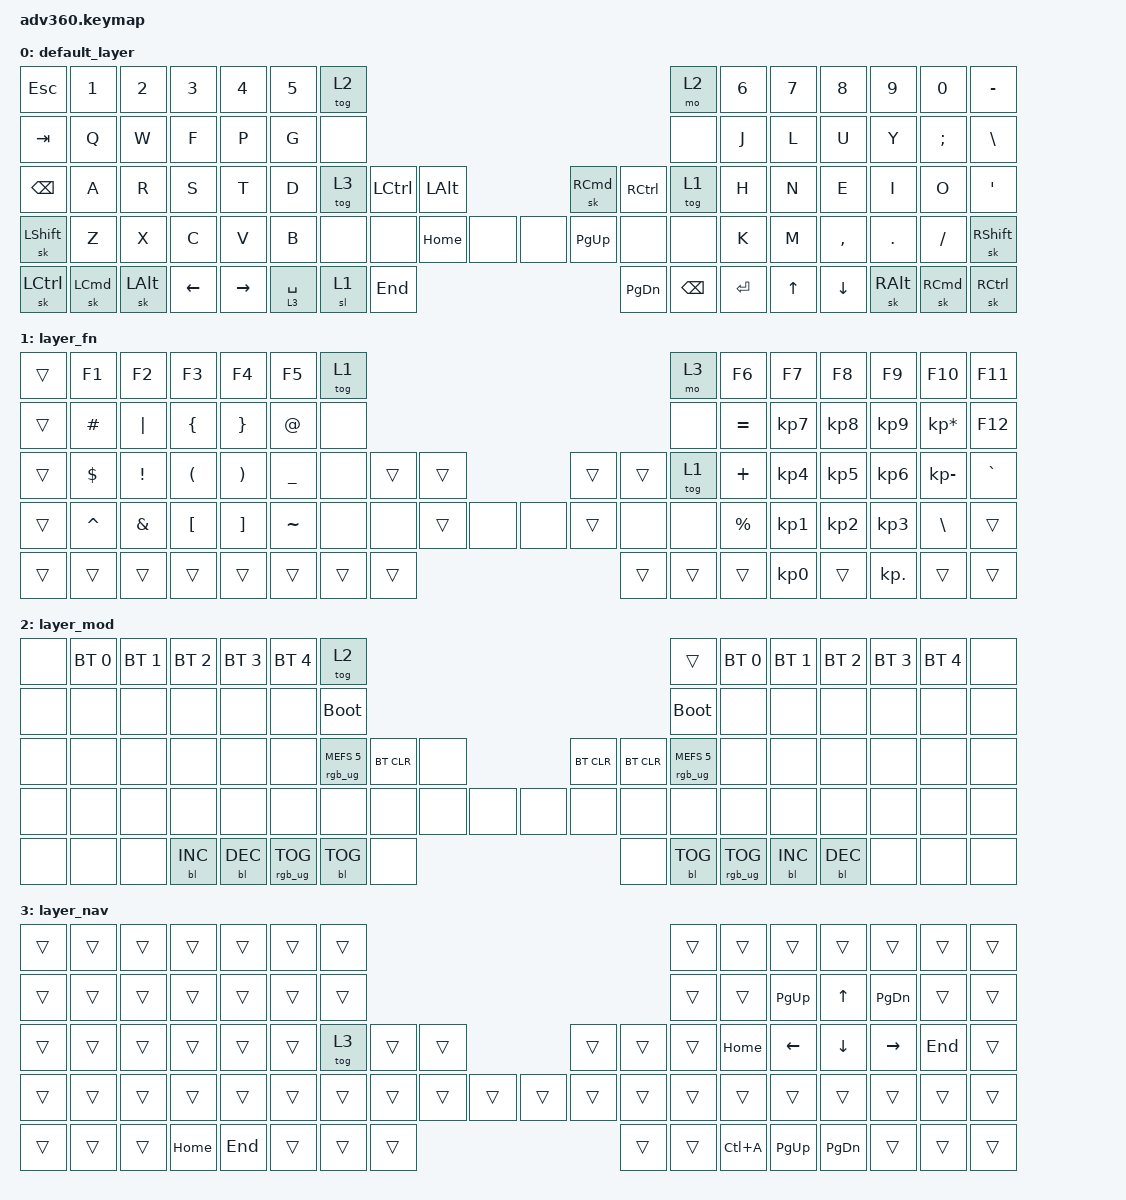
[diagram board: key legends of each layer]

/*
 * Copyright (c) 2020 The ZMK Contributors
 *
 * SPDX-License-Identifier: MIT
 */


/* THIS FILE WAS GENERATED!
 *
 * This file was generated automatically. You may or may not want to
 * edit it directly.
 */

#include <behaviors.dtsi>
#include <dt-bindings/zmk/keys.h>
#include <dt-bindings/zmk/bt.h>
#include <dt-bindings/zmk/rgb.h>
#include <dt-bindings/zmk/backlight.h>

/ {
  behaviors {
    #include "macros.dtsi"

    hm: homerow_mods {
        compatible = "zmk,behavior-hold-tap";
        label = "HOMEROW_MODS";
        #binding-cells = <2>;
        tapping-term-ms = <200>;
        quick_tap_ms = <175>;
        flavor = "tap-preferred";
        bindings = <&kp>, <&kp>;
    };
  };

    keymap {
        compatible = "zmk,keymap";


        default_layer {
            bindings = <
          &kp ESC    &kp N1    &kp N2    &kp N3     &kp N4  &kp N5                 &tog 2                                                                 &mo 2  &kp N6  &kp N7     &kp N8         &kp N9             &kp N0          &kp MINUS
          &kp TAB     &kp Q     &kp W     &kp F      &kp P   &kp G                  &none                                                                 &none   &kp J   &kp L      &kp U          &kp Y      &kp SEMICOLON           &kp BSLH
         &kp BSPC     &kp A     &kp R     &kp S      &kp T   &kp D                 &tog 3  &kp LCTRL  &kp LALT                   &sk RCMD  &kp RCTRL     &tog 1   &kp H   &kp N      &kp E          &kp I              &kp O            &kp SQT
   &sk LEFT_SHIFT     &kp Z     &kp X     &kp C      &kp V   &kp B                  &none      &none  &kp HOME   &none   &none  &kp PG_UP      &none      &none   &kp K   &kp M  &kp COMMA        &kp DOT           &kp FSLH    &sk RIGHT_SHIFT
 &sk LEFT_CONTROL  &sk LCMD  &sk LALT  &kp LEFT  &kp RIGHT                    &lt 3 SPACE      &sl 1   &kp END                  &kp PG_DN   &kp BSPC  &kp ENTER          &kp UP   &kp DOWN  &sk RIGHT_ALT  &sk RIGHT_COMMAND  &sk RIGHT_CONTROL
            >;
        };

        layer_fn {
            bindings = <
 &trans      &kp F1           &kp F2            &kp F3             &kp F4          &kp F5            &tog 1                                                   &mo 3       &kp F6           &kp F7           &kp F8           &kp F9          &kp F10    &kp F11
 &trans    &kp HASH         &kp PIPE    &kp LEFT_BRACE    &kp RIGHT_BRACE     &kp AT_SIGN             &none                                                   &none    &kp EQUAL  &kp KP_NUMBER_7  &kp KP_NUMBER_8  &kp KP_NUMBER_9  &kp KP_ASTERISK    &kp F12
 &trans  &kp DOLLAR  &kp EXCLAMATION          &kp LPAR           &kp RPAR  &kp UNDERSCORE             &none  &trans  &trans                  &trans  &trans  &tog 1     &kp PLUS  &kp KP_NUMBER_4  &kp KP_NUMBER_5  &kp KP_NUMBER_6     &kp KP_MINUS  &kp GRAVE
 &trans   &kp CARET    &kp AMPERSAND  &kp LEFT_BRACKET  &kp RIGHT_BRACKET       &kp TILDE             &none   &none  &trans   &none   &none  &trans   &none   &none  &kp PERCENT  &kp KP_NUMBER_1  &kp KP_NUMBER_2  &kp KP_NUMBER_3    &kp BACKSLASH     &trans
 &trans      &trans           &trans            &trans             &trans                            &trans  &trans  &trans                  &trans  &trans  &trans               &kp KP_NUMBER_0           &trans       &kp KP_DOT           &trans     &trans
            >;
        };

        layer_mod {
            bindings = <
  &none  &bt BT_SEL 0  &bt BT_SEL 1  &bt BT_SEL 2  &bt BT_SEL 3  &bt BT_SEL 4                            &tog 2                                                                              &trans  &bt BT_SEL 0  &bt BT_SEL 1  &bt BT_SEL 2  &bt BT_SEL 3  &bt BT_SEL 4   &none
  &none         &none         &none         &none         &none         &none                       &bootloader                                                                         &bootloader         &none         &none         &none         &none         &none   &none
  &none         &none         &none         &none         &none         &none            &rgb_ug RGB_MEFS_CMD 5  &bt BT_CLR   &none                  &bt BT_CLR  &bt BT_CLR  &rgb_ug RGB_MEFS_CMD 5         &none         &none         &none         &none         &none   &none
  &none         &none         &none         &none         &none         &none                             &none       &none   &none   &none   &none       &none       &none                   &none         &none         &none         &none         &none         &none   &none
  &none         &none         &none    &bl BL_INC    &bl BL_DEC                                 &rgb_ug RGB_TOG  &bl BL_TOG   &none                       &none  &bl BL_TOG         &rgb_ug RGB_TOG                  &bl BL_INC    &bl BL_DEC         &none         &none   &none
            >;
        };

        layer_nav {
            bindings = <
 &trans  &trans  &trans    &trans   &trans  &trans            &trans                                                     &trans    &trans          &trans          &trans           &trans   &trans  &trans
 &trans  &trans  &trans    &trans   &trans  &trans            &trans                                                     &trans    &trans       &kp PG_UP    &kp UP_ARROW        &kp PG_DN   &trans  &trans
 &trans  &trans  &trans    &trans   &trans  &trans            &tog 3  &trans  &trans                  &trans  &trans     &trans  &kp HOME  &kp LEFT_ARROW  &kp DOWN_ARROW  &kp RIGHT_ARROW  &kp END  &trans
 &trans  &trans  &trans    &trans   &trans  &trans            &trans  &trans  &trans  &trans  &trans  &trans  &trans     &trans    &trans          &trans          &trans           &trans   &trans  &trans
 &trans  &trans  &trans  &kp HOME  &kp END                    &trans  &trans  &trans                  &trans  &trans  &kp LC(A)               &kp PAGE_UP   &kp PAGE_DOWN           &trans   &trans  &trans
            >;
        };

    };
};
